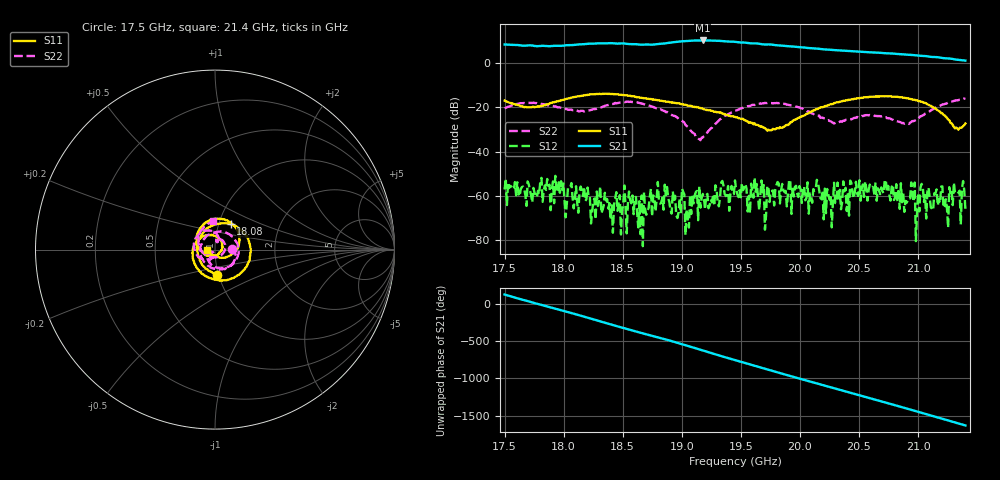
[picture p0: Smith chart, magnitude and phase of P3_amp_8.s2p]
!Created with skrf (http://scikit-rf.org).
# GHz S RI R 50.0
!freq ReS11 ImS11 ReS21 ImS21 ReS12 ImS12 ReS22 ImS22
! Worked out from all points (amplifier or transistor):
!   401 points, 17.5 GHz to 21.4 GHz, reference 50 ohm
!   highest |S21| = 10.1 dB at 19.18 GHz (marker M1)
!   |S21| within 3 dB of that: start of sweep to 19.99 GHz
!   unconditionally stable (mu >= 1): start of sweep to end of sweep
!   at 18.14 GHz: K = 113.26, MAG = 8.5 dB, |S12| = -55.8 dB
!   at 19.45 GHz: K = 74.66, MAG = 9.5 dB, |S12| = -53.0 dB
!   at 21.4 GHz: K = 857.53, MAG = 1.1 dB, |S12| = -65.9 dB
!   S11 on the Smith chart (normalised r, x): 17.5 GHz: 0.99, -0.28; 18.08 GHz: 1.14, +0.33; 21.4 GHz: 0.92, -0.01
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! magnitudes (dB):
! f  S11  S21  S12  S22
! 17.5 GHz  -17.1  8.3  -57.1  -20.5
! 18.08 GHz  -15.6  8.0  -60.9  -21.4
! 18.15 GHz  -14.9  8.4  -57.4  -21.6
! 18.25 GHz  -14.2  8.6  -62.3  -20.9
! 18.56 GHz  -14.9  8.4  -61.8  -17.5
! 18.65 GHz  -15.7  8.2  -77.3  -18.2
! 18.81 GHz  -17.0  8.5  -62.7  -21.1
! 18.97 GHz  -18.3  9.5  -67.4  -25.2
! 19 GHz  -18.7  9.7  -56.7  -26.2
! 19.05 GHz  -19.3  9.9  -71.0  -28.9
! 19.11 GHz  -19.9  10.0  -59.9  -32.1
! 19.18 GHz  -20.7  10.1  -59.1  -33.7
! 19.45 GHz  -24.4  9.4  -53.0  -21.7
! 19.74 GHz  -30.5  8.3  -62.8  -18.0
! 20.1 GHz  -21.7  6.5  -63.1  -22.9
! 20.76 GHz  -15.1  4.3  -59.6  -25.1
! 20.95 GHz  -16.5  3.5  -59.3  -26.3
! 21 GHz  -17.2  3.2  -58.8  -25.2
! 21.04 GHz  -17.7  3.1  -55.9  -23.6
! 21.23 GHz  -24.3  2.0  -61.5  -18.4
! 21.28 GHz  -27.2  1.8  -57.2  -17.5
! 21.4 GHz  -27.4  1.0  -65.9  -16.1
